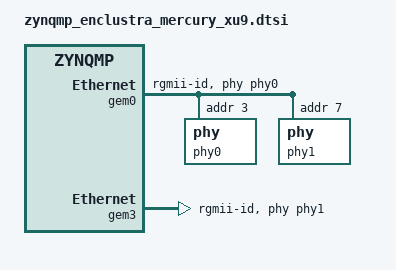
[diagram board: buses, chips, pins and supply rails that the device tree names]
/ {
	aliases {
		ethernet0 = &gem0;
		ethernet1 = &gem3;
		i2c0 = &i2c0;
		serial0 = &uart0;
		spi0 = &qspi;
	};
};

&gem0 {
	status = "okay";
	/delete-property/ local-mac-address;
	phy-mode = "rgmii-id";
	phy-handle = <&phy0>;
	phy0: phy@3 {
		reg = <3>;

		txc-skew-ps = <1800>;
		txen-skew-ps = <420>;

		txd0-skew-ps = <420>;
		txd1-skew-ps = <420>;
		txd2-skew-ps = <420>;
		txd3-skew-ps = <420>;

		rxc-skew-ps = <900>;
		rxdv-skew-ps = <420>;

		rxd0-skew-ps = <420>;
		rxd1-skew-ps = <420>;
		rxd2-skew-ps = <420>;
		rxd3-skew-ps = <420>;		
	};
	phy1: phy@7 {
		reg = <7>;

		txc-skew-ps = <1800>;
		txen-skew-ps = <420>;

		txd0-skew-ps = <420>;
		txd1-skew-ps = <420>;
		txd2-skew-ps = <420>;
		txd3-skew-ps = <420>;

		rxc-skew-ps = <900>;
		rxdv-skew-ps = <420>;

		rxd0-skew-ps = <420>;
		rxd1-skew-ps = <420>;
		rxd2-skew-ps = <420>;
		rxd3-skew-ps = <420>;		
	};
};

&gem3 {
	status = "okay";
	/delete-property/ local-mac-address;
	phy-handle = <&phy1>;
	phy-mode = "rgmii-id";
};
